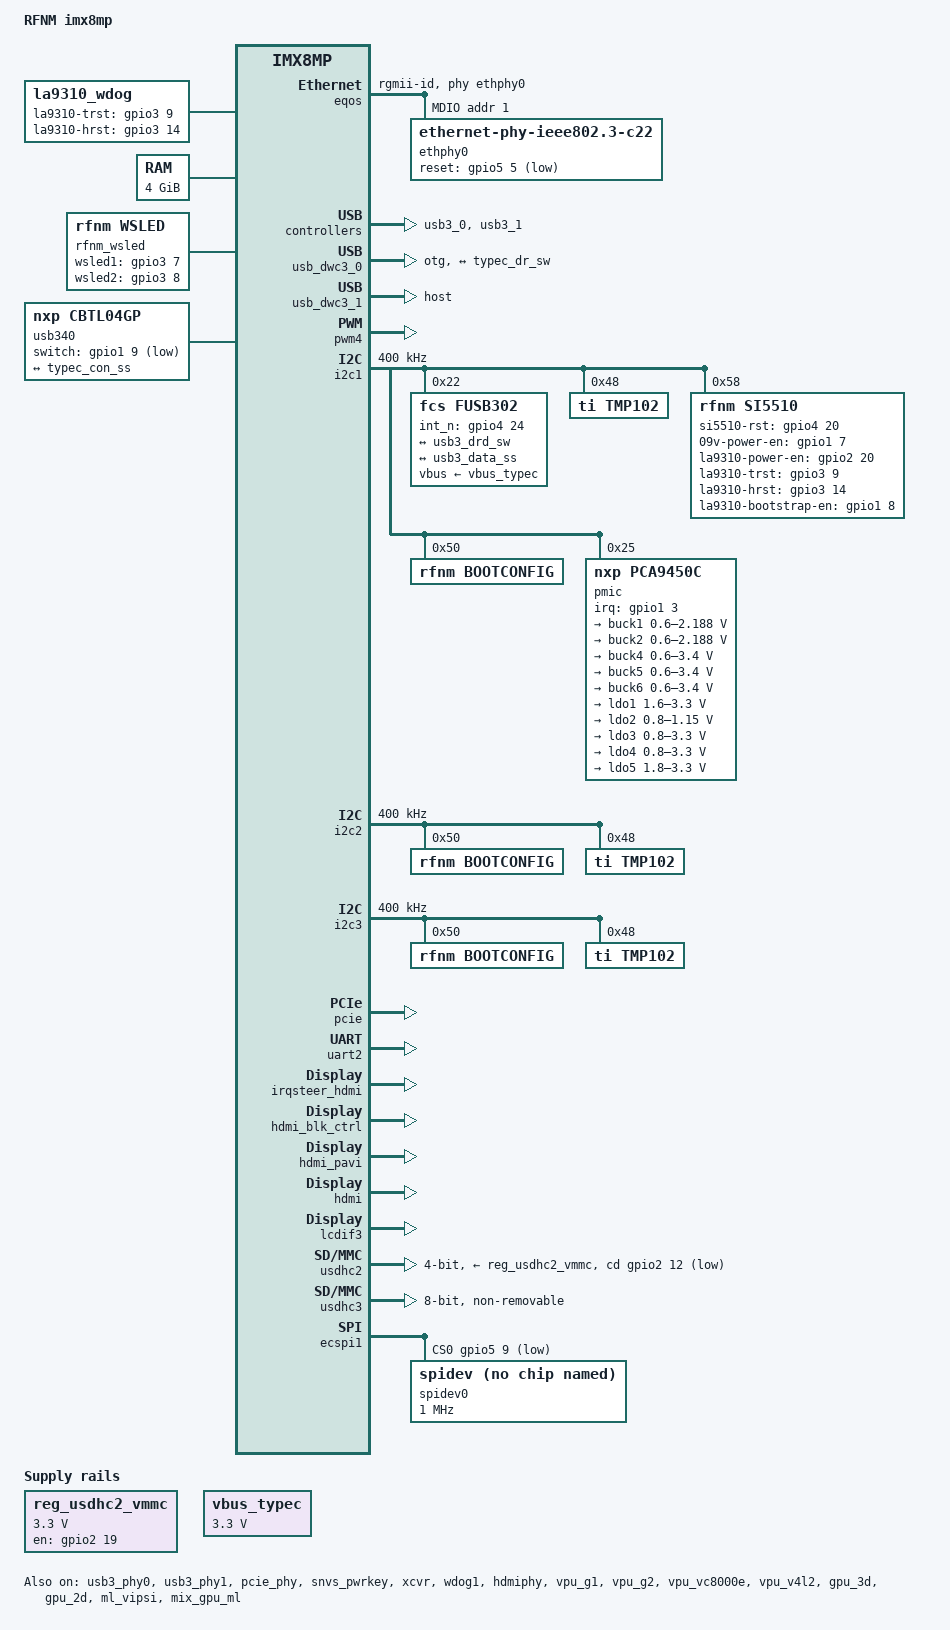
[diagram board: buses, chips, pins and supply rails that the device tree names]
// SPDX-License-Identifier: (GPL-2.0+ OR MIT)
/*
 * Copyright 2019-2024 NXP
 */

/dts-v1/;

#include <dt-bindings/usb/pd.h>
#include "imx8mp.dtsi"

/ {
	model = "RFNM imx8mp";
	compatible = "fsl,imx8mp-rfnm", "fsl,imx8mp-evk", "fsl,imx8mp";

	chosen {
		stdout-path = &uart2;
	};

    la9310_wdog: la9310_wdog@0 {
        compatible = "la9310_wdog";
        la9310-trst-gpios = <&gpio3 9 GPIO_ACTIVE_HIGH>;
		la9310-hrst-gpios = <&gpio3 14 GPIO_ACTIVE_HIGH>;
    };


	memory@40000000 {
		device_type = "memory";
		reg = <0x0 0x40000000 0 0x80000000>,
		      <0x1 0x00000000 0 0x80000000>;
	};


	reserved-memory {
            /delete-node/ dsp_reserved;
            /delete-node/ dsp_reserved_heap;
            /delete-node/ dsp_vdev0vring0;
            /delete-node/ dsp_vdev0vring1;
            /delete-node/ dsp_vdev0buffer;

			la93: la93@92400000 {
				reg = <0 0x92400000 0 0x4000000>;
				compatible = "shared-dma-pool";
			};
			iqflood: iq@96400000 {
				reg = <0 0x96400000 0 0xD000000>;
				//compatible = "shared-dma-pool";
				no-map;
				//compatible = "removed-dma-pool";
			};
			bootconfig: bootconfig@A3400000 {
				reg = <0 0xA3400000 0 0x400000>;
				// uboot was modified to clear this memory (with 0xff)
				no-map;
			};
    };

	reg_usdhc2_vmmc: regulator-usdhc2 {
		compatible = "regulator-fixed";
		pinctrl-names = "default";
		pinctrl-0 = <&pinctrl_reg_usdhc2_vmmc>;
		regulator-name = "VSD_3V3";
		regulator-min-microvolt = <3300000>;
		regulator-max-microvolt = <3300000>;
		gpio = <&gpio2 19 GPIO_ACTIVE_HIGH>;
		enable-active-high;
	};

	rfnm_wsled {
		compatible = "rfnm,wsled";
		wsled1-gpios = <&gpio3 7 GPIO_ACTIVE_HIGH>;
		wsled2-gpios = <&gpio3 8 GPIO_ACTIVE_HIGH>;
		pinctrl-names = "default";
		pinctrl-0 = <&pinctrl_wsled>;
		status = "okay";
	};


	sound-hdmi {
		compatible = "fsl,imx-audio-hdmi";
		model = "audio-hdmi";
		audio-cpu = <&aud2htx>;
		hdmi-out;
		constraint-rate = <44100>,
				<88200>,
				<176400>,
				<32000>,
				<48000>,
				<96000>,
				<192000>;
		status = "okay";
	};

	/*
	rfnm_gpios {
		compatible = "rfnm,gpio";
		pinctrl-names = "default";
		pinctrl-0 = <&pinctrl_rfnm_gpios>;

		Si5510_PWR_EN {
			label = "Si5510_PWR_EN";
			gpios = <&gpio3 16 GPIO_ACTIVE_HIGH>;
		};
	};
	*/


	usb340: fusb340-sw {
		// cannot remove compatibile from here, this only works thanks to NXP patches
		compatible = "nxp,cbtl04gp";
		pinctrl-names = "default";
		pinctrl-0 = <&pinctrl_typec_mux>;
		switch-gpios = <&gpio1 9 GPIO_ACTIVE_LOW>;
		orientation-switch;

		port {
			usb3_data_ss: endpoint {
				remote-endpoint = <&typec_con_ss>;
			};
		};
	};




	vbus_typec: vbus-typec-regulator {
		compatible = "regulator-fixed";
		regulator-name = "vbus_typec";
		regulator-min-microvolt = <3300000>;
		regulator-max-microvolt = <3300000>;
		regulator-always-on;
		status = "okay";
	};
};

&gpio2 {
	gpio-line-names =
		"gpio2_0",
		"etc";
};



&A53_0 {
	cpu-supply = <&buck2>;
};

&A53_1 {
	cpu-supply = <&buck2>;
};

&A53_2 {
	cpu-supply = <&buck2>;
};

&A53_3 {
	cpu-supply = <&buck2>;
};
&eqos {
	pinctrl-names = "default";
	pinctrl-0 = <&pinctrl_eqos>;
	phy-mode = "rgmii-id";
	phy-handle = <&ethphy0>;
	snps,force_thresh_dma_mode;
	//snps,mtl-tx-config = <&mtl_tx_setup>;
	//snps,mtl-rx-config = <&mtl_rx_setup>;
	fsl,magic-packet;
	status = "okay";

	mdio {
		compatible = "snps,dwmac-mdio";
		#address-cells = <1>;
		#size-cells = <0>;

		ethphy0: ethernet-phy@1 {
			compatible = "ethernet-phy-ieee802.3-c22";
			reg = <1>;
			eee-broken-1000t;
			realtek,clkout-disable;
			reset-gpios = <&gpio5 5 GPIO_ACTIVE_LOW>;
			reset-assert-us = <15000>;
			reset-deassert-us = <100000>;
		};
	};

	/*mtl_tx_setup: tx-queues-config {
		snps,tx-queues-to-use = <5>;
		snps,tx-sched-sp;
		queue0 {
			snps,dcb-algorithm;
			snps,priority = <0x1>;
		};
		queue1 {
			snps,dcb-algorithm;
			snps,priority = <0x2>;
		};
		queue2 {
			snps,dcb-algorithm;
			snps,priority = <0x4>;
		};
		queue3 {
			snps,dcb-algorithm;
			snps,priority = <0x8>;
		};
		queue4 {
			snps,dcb-algorithm;
			snps,priority = <0xf0>;
		};
	};
	mtl_rx_setup: rx-queues-config {
		snps,rx-queues-to-use = <5>;
		snps,rx-sched-sp;
		queue0 {
			snps,dcb-algorithm;
			snps,priority = <0x1>;
			snps,map-to-dma-channel = <0>;
		};
		queue1 {
			snps,dcb-algorithm;
			snps,priority = <0x2>;
			snps,map-to-dma-channel = <1>;
		};
		queue2 {
			snps,dcb-algorithm;
			snps,priority = <0x4>;
			snps,map-to-dma-channel = <2>;
		};
		queue3 {
			snps,dcb-algorithm;
			snps,priority = <0x8>;
			snps,map-to-dma-channel = <3>;
		};
		queue4 {
			snps,dcb-algorithm;
			snps,priority = <0xf0>;
			snps,map-to-dma-channel = <4>;
		};
	};*/
};

&usb3_phy0 {
	vbus-power-supply = <&fusb302>;
	fsl,phy-tx-vref-tune = <0xe>;
	fsl,phy-tx-preemp-amp-tune = <3>;
	fsl,phy-tx-vboost-level = <5>;
	fsl,phy-comp-dis-tune = <7>;
	fsl,pcs-tx-deemph-3p5db = <0x21>;
	fsl,phy-pcs-tx-swing-full = <0x7f>;
	status = "okay";
};

&usb3_0 {
	status = "okay";
};

&usb_dwc3_0 {
	dr_mode = "otg";
	hnp-disable;
	srp-disable;
	adp-disable;
	snps,dis-u1-entry-quirk;
	snps,dis-u2-entry-quirk;
	status = "okay";

	port {
		usb3_drd_sw: endpoint {
			remote-endpoint = <&typec_dr_sw>;
		};
	};
};

&usb3_phy1 {
	fsl,phy-tx-preemp-amp-tune = <3>;
	fsl,phy-tx-vref-tune = <0xb>;
	status = "okay";
};

&usb3_1 {
	status = "okay";
};

&usb_dwc3_1 {
	pinctrl-names = "default";
	/*pinctrl-0 = <&pinctrl_usb1_vbus>;*/
	dr_mode = "host";
	status = "okay";
};

&pwm4 {
	pinctrl-names = "default";
	pinctrl-0 = <&pinctrl_pwm4>;
	status = "okay";
};


&i2c1 {
	clock-frequency = <400000>;
	pinctrl-names = "default";
	pinctrl-0 = <&pinctrl_i2c1>;
	status = "okay";


	fusb302: tcpc@22 {
		compatible = "fcs,fusb302";
		pinctrl-names = "default";
		pinctrl-0 = <&pinctrl_typec>;
		reg = <0x22>;
		//interrupt-parent = <&gpio4>;
        //interrupts = <24 IRQ_TYPE_LEVEL_LOW>;
		fcs,int_n = <&gpio4 24 GPIO_ACTIVE_HIGH>;
        vbus-supply = <&vbus_typec>;

		port {
			typec_dr_sw: endpoint {
				remote-endpoint = <&usb3_drd_sw>;
			};
		};

		usb_con: connector {
			compatible = "usb-c-connector";
			label = "USB-C";

			power-role = "sink";
			try-power-role = "sink";
			data-role = "dual";
			//source-pdos = <PDO_FIXED(5000, 2500, PDO_FIXED_USB_COMM)>;
			sink-pdos = <PDO_FIXED(5000, 3000, PDO_FIXED_USB_COMM)
				     	 PDO_FIXED(9000, 2000, PDO_FIXED_USB_COMM)
						 PDO_FIXED(12000, 2000, PDO_FIXED_USB_COMM)
						 PDO_FIXED(15000, 1500, PDO_FIXED_USB_COMM)
						 PDO_VAR(5000, 15000, 3000)>;
			op-sink-microwatt = <1000000>;
			//self-powered;

			ports {
				#address-cells = <1>;
				#size-cells = <0>;

				port@1 {
					reg = <1>;
					typec_con_ss: endpoint {
						remote-endpoint = <&usb3_data_ss>;
					};
				};
			};
		};
	};

	tmp102@48{
		compatible = "ti,tmp102";
		reg = <0x48>;
	};

	si5510@58{
		compatible = "rfnm,si5510";
		reg = <0x58>;
		status = "okay";
		pinctrl-names = "default";
		pinctrl-0 = <&pinctrl_si5510>;
		si5510-rst-gpios = <&gpio4 20 GPIO_ACTIVE_HIGH>;

		09v-power-en-gpios = <&gpio1 7 GPIO_ACTIVE_HIGH>;
		la9310-power-en-gpios = <&gpio2 20 GPIO_ACTIVE_HIGH>;

		la9310-trst-gpios = <&gpio3 9 GPIO_ACTIVE_HIGH>;
		la9310-hrst-gpios = <&gpio3 14 GPIO_ACTIVE_HIGH>;
		la9310-bootstrap-en-gpios = <&gpio1 8 GPIO_ACTIVE_HIGH>;
	};

	bootconfig@50{
		compatible = "rfnm,bootconfig";
		reg = <0x50>;
		status = "okay";
	};









	pmic@25 {
		compatible = "nxp,pca9450c";
		reg = <0x25>;
		pinctrl-names = "default";
		pinctrl-0 = <&pinctrl_pmic>;
		interrupt-parent = <&gpio1>;
		interrupts = <3 IRQ_TYPE_LEVEL_LOW>;

		regulators {
			buck1: BUCK1 {
				regulator-name = "BUCK1";
				regulator-min-microvolt = <600000>;
				regulator-max-microvolt = <2187500>;
				regulator-boot-on;
				regulator-always-on;
				regulator-ramp-delay = <3125>;
			};

			buck2: BUCK2 {
				regulator-name = "BUCK2";
				regulator-min-microvolt = <600000>;
				regulator-max-microvolt = <2187500>;
				regulator-boot-on;
				regulator-always-on;
				regulator-ramp-delay = <3125>;
				nxp,dvs-run-voltage = <950000>;
				nxp,dvs-standby-voltage = <850000>;
			};

			buck4: BUCK4{
				regulator-name = "BUCK4";
				regulator-min-microvolt = <600000>;
				regulator-max-microvolt = <3400000>;
				regulator-boot-on;
				regulator-always-on;
			};

			buck5: BUCK5{
				regulator-name = "BUCK5";
				regulator-min-microvolt = <600000>;
				regulator-max-microvolt = <3400000>;
				regulator-boot-on;
				regulator-always-on;
			};

			buck6: BUCK6 {
				regulator-name = "BUCK6";
				regulator-min-microvolt = <600000>;
				regulator-max-microvolt = <3400000>;
				regulator-boot-on;
				regulator-always-on;
			};

			ldo1: LDO1 {
				regulator-name = "LDO1";
				regulator-min-microvolt = <1600000>;
				regulator-max-microvolt = <3300000>;
				regulator-boot-on;
				regulator-always-on;
			};

			ldo2: LDO2 {
				regulator-name = "LDO2";
				regulator-min-microvolt = <800000>;
				regulator-max-microvolt = <1150000>;
				regulator-boot-on;
				regulator-always-on;
			};

			ldo3: LDO3 {
				regulator-name = "LDO3";
				regulator-min-microvolt = <800000>;
				regulator-max-microvolt = <3300000>;
				regulator-boot-on;
				regulator-always-on;
			};

			ldo4: LDO4 {
				regulator-name = "LDO4";
				regulator-min-microvolt = <800000>;
				regulator-max-microvolt = <3300000>;
				regulator-boot-on;
				regulator-always-on;
			};

			ldo5: LDO5 {
				regulator-name = "LDO5";
				regulator-min-microvolt = <1800000>;
				regulator-max-microvolt = <3300000>;
				regulator-boot-on;
				regulator-always-on;
			};
		};
	};
};

&i2c2 {
	clock-frequency = <400000>;
	pinctrl-names = "default";
	pinctrl-0 = <&pinctrl_i2c2>;
	status = "okay";

	bootconfig@50{
		compatible = "rfnm,bootconfig";
		reg = <0x50>;
		status = "okay";
	};

	tmp102@48{
		compatible = "ti,tmp102";
		reg = <0x48>;
	};
};

&i2c3 {
	clock-frequency = <400000>;
	pinctrl-names = "default";
	pinctrl-0 = <&pinctrl_i2c3>;
	status = "okay";

	bootconfig@50{
		compatible = "rfnm,bootconfig";
		reg = <0x50>;
		status = "okay";
	};

	tmp102@48{
		compatible = "ti,tmp102";
		reg = <0x48>;
	};
};




&pcie{
	//pinctrl-names = "default";
	//pinctrl-0 = <&pinctrl_pcie>;
	//disable-gpio = <&gpio2 6 GPIO_ACTIVE_LOW>;
	//reset-gpio = <&gpio2 7 GPIO_ACTIVE_LOW>;
	ext_osc = <1>;
	clocks = <&clk IMX8MP_CLK_HSIO_ROOT>,
		 <&clk IMX8MP_CLK_PCIE_AUX>,
		 <&clk IMX8MP_CLK_HSIO_AXI>,
		 <&clk IMX8MP_CLK_PCIE_ROOT>;
	clock-names = "pcie", "pcie_aux", "pcie_phy", "pcie_bus";
	assigned-clocks = <&clk IMX8MP_CLK_HSIO_AXI>,
			  <&clk IMX8MP_CLK_PCIE_AUX>;
	assigned-clock-rates = <500000000>, <10000000>;
	assigned-clock-parents = <&clk IMX8MP_SYS_PLL2_500M>,
				 <&clk IMX8MP_SYS_PLL2_50M>;
	l1ss-disabled;
	status = "okay";
/*
	wifi_wake_host {
		compatible = "nxp,wifi-wake-host";
		interrupt-parent = <&gpio5>;
		interrupts = <21 IRQ_TYPE_LEVEL_LOW>;
		interrupt-names = "host-wake";
	};
*/
};

&pcie_ep{
	//pinctrl-names = "default";
	//pinctrl-0 = <&pinctrl_pcie>;
	ext_osc = <1>;
	clocks = <&clk IMX8MP_CLK_HSIO_ROOT>,
		 <&clk IMX8MP_CLK_PCIE_AUX>,
		 <&clk IMX8MP_CLK_HSIO_AXI>,
		 <&clk IMX8MP_CLK_PCIE_ROOT>;
	clock-names = "pcie", "pcie_aux", "pcie_phy", "pcie_bus";
	assigned-clocks = <&clk IMX8MP_CLK_HSIO_AXI>,
			  <&clk IMX8MP_CLK_PCIE_AUX>;
	assigned-clock-rates = <500000000>, <10000000>;
	assigned-clock-parents = <&clk IMX8MP_SYS_PLL2_500M>,
				 <&clk IMX8MP_SYS_PLL2_50M>;
	status = "disabled";
};

&pcie_phy{
	ext_osc = <1>;
	status = "okay";
};


&snvs_pwrkey {
	status = "okay";
};

&xcvr {
	#sound-dai-cells = <0>;
	status = "okay";
};

&sdma2 {
	status = "okay";
};


&uart2 {
	/* console */
	pinctrl-names = "default";
	pinctrl-0 = <&pinctrl_uart2>;
	status = "okay";
};

&wdog1 {
	pinctrl-names = "default";
	pinctrl-0 = <&pinctrl_wdog>;
	fsl,ext-reset-output;
	status = "okay";
};

&irqsteer_hdmi {
	status = "okay";
};

&hdmi_blk_ctrl {
	status = "okay";
};

&hdmi_pavi {
	status = "okay";
};

&hdmi {
	status = "okay";
	pinctrl-names = "default";
	pinctrl-0 = <&pinctrl_hdmi>;
};

&hdmiphy {
	status = "okay";
};

&lcdif3 {
	status = "okay";

	thres-low  = <1 2>;             /* (FIFO * 1 / 2) */
	thres-high = <3 4>;             /* (FIFO * 3 / 4) */
};

&usdhc2 {
	assigned-clocks = <&clk IMX8MP_CLK_USDHC2>;
	assigned-clock-rates = <400000000>;
	pinctrl-names = "default", "state_100mhz", "state_200mhz";
	pinctrl-0 = <&pinctrl_usdhc2>, <&pinctrl_usdhc2_gpio>;
	pinctrl-1 = <&pinctrl_usdhc2_100mhz>, <&pinctrl_usdhc2_gpio>;
	pinctrl-2 = <&pinctrl_usdhc2_200mhz>, <&pinctrl_usdhc2_gpio>;
	cd-gpios = <&gpio2 12 GPIO_ACTIVE_LOW>;
	vmmc-supply = <&reg_usdhc2_vmmc>;
	bus-width = <4>;
	status = "okay";
};

&usdhc3 {
	assigned-clocks = <&clk IMX8MP_CLK_USDHC3>;
	assigned-clock-rates = <400000000>;
	pinctrl-names = "default", "state_100mhz", "state_200mhz";
	pinctrl-0 = <&pinctrl_usdhc3>;
	pinctrl-1 = <&pinctrl_usdhc3_100mhz>;
	pinctrl-2 = <&pinctrl_usdhc3_200mhz>;
	bus-width = <8>;
	non-removable;
	status = "okay";
};

&ecspi1 {
	#address-cells = <1>;
	#size-cells = <0>;
	fsl,spi-num-chipselects = <1>;
	pinctrl-names = "default";
	pinctrl-0 = <&pinctrl_ecspi1>;
	// spi bug in the 5.10 -> 5.15 upgrade that
	// resets the CS line in multi-byte transfers for no reasons
	// fix by telling the driver to use a GPIO as SS

	//num-cs = <2>;
	//cs-gpios = <&gpio5 9 GPIO_ACTIVE_LOW>, <&gpio3 22 GPIO_ACTIVE_LOW>;
	cs-gpios = <&gpio5 9 GPIO_ACTIVE_LOW>;
	status = "okay";
	fsl,spi-csd-ctl = <1>;

	spidev0: spi@0 {
		reg = <0>;
		compatible = "rohm,dh2228fv";
		spi-max-frequency = <1000000>;
	};

	/*spidev1: spi@1 {
		reg = <1>;
		compatible = "rohm,dh2228fv";
		spi-max-frequency = <1000000>;
	};*/
};
/*
&ecspi2 {
	#address-cells = <1>;
	#size-cells = <0>;
	fsl,spi-num-chipselects = <1>;
	pinctrl-names = "default";
	pinctrl-0 = <&pinctrl_ecspi2>;
	cs-gpios = <&gpio5 13 GPIO_ACTIVE_LOW>;
	status = "okay";

	spidev3: spi@0 {
		reg = <0>;
		compatible = "spidev";
		spi-max-frequency = <500000>;
	};
};
*/

&iomuxc {
    pinctrl-names = "default_iomuxc";
    pinctrl-0 = <&pinctrl_eqos>;


    imx8mp-custom-board {
    /*
    	pinctrl_rfnm_gpios: rfnmgpiopctrl {
    		fsl,pins = <
				MX8MP_IOMUXC_GPIO1_IO07__GPIO1_IO07        0x00000146
                MX8MP_IOMUXC_GPIO1_IO10__GPIO1_IO10        0x00000146
                MX8MP_IOMUXC_GPIO1_IO12__GPIO1_IO12        0x00000146
                MX8MP_IOMUXC_NAND_READY_B__GPIO3_IO16      0x00000146
                MX8MP_IOMUXC_SD2_WP__GPIO2_IO20            0x00000146
			>;
    	};
    */

	pinctrl_wsled: wsledgrp {
		fsl,pins = <
			MX8MP_IOMUXC_NAND_DATA01__GPIO3_IO07       0x00000016 // needed to enable clocking to this gpio peripheral
			MX8MP_IOMUXC_NAND_DATA02__GPIO3_IO08       0x00000016 // needed to enable clocking to this gpio peripheral
		>;
	};

    pinctrl_ecspi1: ecspi1grp {
		fsl,pins = <
			MX8MP_IOMUXC_ECSPI1_MISO__ECSPI1_MISO      0x82
            MX8MP_IOMUXC_ECSPI1_MOSI__ECSPI1_MOSI      0x82
            MX8MP_IOMUXC_ECSPI1_SCLK__ECSPI1_SCLK      0x82
            //MX8MP_IOMUXC_ECSPI1_SS0__ECSPI1_SS0        0x86
			MX8MP_IOMUXC_ECSPI1_SS0__GPIO5_IO09		0x00000106 // SS granita
			MX8MP_IOMUXC_SAI5_RXD1__GPIO3_IO22		0x00000106 // SS RFFC

			MX8MP_IOMUXC_SAI5_RXD0__GPIO3_IO21		0x00000106 // RFFC NRST pin

			MX8MP_IOMUXC_SD1_DATA4__GPIO2_IO06         0x00000146 // PGOOD_5V with weak pullup

			MX8MP_IOMUXC_SAI1_RXD4__GPIO4_IO06         0x00000106 // needed for data pin on RBA
			MX8MP_IOMUXC_SAI1_RXD5__GPIO4_IO07         0x00000106 // needed for data pin on RBA
			MX8MP_IOMUXC_SAI1_RXD6__GPIO4_IO08         0x00000106 // needed for data pin on RBA
			MX8MP_IOMUXC_SAI1_RXD7__GPIO4_IO09         0x00000106 // needed for data pin on RBA

			MX8MP_IOMUXC_SAI1_RXFS__GPIO4_IO00         0x00000006
			MX8MP_IOMUXC_SAI1_RXC__GPIO4_IO01          0x00000106
			MX8MP_IOMUXC_SAI1_RXD0__GPIO4_IO02         0x00000106
			MX8MP_IOMUXC_SAI1_RXD2__GPIO4_IO04         0x00000106
			MX8MP_IOMUXC_SAI1_RXD3__GPIO4_IO05         0x00000106


		>;
	};

	pinctrl_ecspi2: ecspi2grp {
		fsl,pins = <
			MX8MP_IOMUXC_ECSPI2_MISO__ECSPI2_MISO      0x82
            MX8MP_IOMUXC_ECSPI2_MOSI__ECSPI2_MOSI      0x82
            MX8MP_IOMUXC_ECSPI2_SCLK__ECSPI2_SCLK      0x82
            //MX8MP_IOMUXC_ECSPI2_SS0__ECSPI2_SS0        0x86
			MX8MP_IOMUXC_ECSPI2_SS0__GPIO5_IO13			0x00000106
		>;
	};

    pinctrl_hdmi: hdmigrp {
    	fsl,pins = <
			MX8MP_IOMUXC_HDMI_DDC_SCL__HDMIMIX_HDMI_SCL	0x000001c3
			MX8MP_IOMUXC_HDMI_DDC_SDA__HDMIMIX_HDMI_SDA	0x000001c3
			MX8MP_IOMUXC_HDMI_HPD__HDMIMIX_HDMI_HPD		0x00000000
			MX8MP_IOMUXC_HDMI_CEC__HDMIMIX_HDMI_CEC		0x00000000
		>;
    };
    	pinctrl_typec: typec1grp {
			fsl,pins = <
				MX8MP_IOMUXC_SAI2_TXFS__GPIO4_IO24	0x26
			>;
		};

		pinctrl_typec_mux: typec1muxgrp {
			fsl,pins = <
				MX8MP_IOMUXC_GPIO1_IO09__GPIO1_IO09	0x16
			>;
		};

		pinctrl_pwm4: pwm4grp {
			fsl,pins = <
				//MX8MP_IOMUXC_GPIO1_IO15__PWM4_OUT          0x00000026
				MX8MP_IOMUXC_SAI3_MCLK__PWM4_OUT           0x00000016
			>;
		};

		pinctrl_si5510: si5510pctrl {
			fsl,pins = <
				MX8MP_IOMUXC_SAI1_MCLK__GPIO4_IO20	0x6
				MX8MP_IOMUXC_NAND_DATA03__GPIO3_IO09	0x6
				MX8MP_IOMUXC_NAND_DQS__GPIO3_IO14 	0x6
				MX8MP_IOMUXC_GPIO1_IO08__GPIO1_IO08 	0x6

				MX8MP_IOMUXC_GPIO1_IO07__GPIO1_IO07	0x6
				MX8MP_IOMUXC_SD2_WP__GPIO2_IO20	0x6
			>;
		};



        pinctrl_eqos: eqosgrp {

            fsl,pins = <
                MX8MP_IOMUXC_ENET_MDC__ENET_QOS_MDC				0x2
				MX8MP_IOMUXC_ENET_MDIO__ENET_QOS_MDIO				0x2
				MX8MP_IOMUXC_ENET_RD0__ENET_QOS_RGMII_RD0			0x90
				MX8MP_IOMUXC_ENET_RD1__ENET_QOS_RGMII_RD1			0x90
				MX8MP_IOMUXC_ENET_RD2__ENET_QOS_RGMII_RD2			0x90
				MX8MP_IOMUXC_ENET_RD3__ENET_QOS_RGMII_RD3			0x90
				MX8MP_IOMUXC_ENET_RXC__CCM_ENET_QOS_CLOCK_GENERATE_RX_CLK	0x90
				MX8MP_IOMUXC_ENET_RX_CTL__ENET_QOS_RGMII_RX_CTL			0x90
				MX8MP_IOMUXC_ENET_TD0__ENET_QOS_RGMII_TD0			0x16
				MX8MP_IOMUXC_ENET_TD1__ENET_QOS_RGMII_TD1			0x16
				MX8MP_IOMUXC_ENET_TD2__ENET_QOS_RGMII_TD2			0x16
				MX8MP_IOMUXC_ENET_TD3__ENET_QOS_RGMII_TD3			0x16
				MX8MP_IOMUXC_ENET_TX_CTL__ENET_QOS_RGMII_TX_CTL			0x16
				MX8MP_IOMUXC_ENET_TXC__CCM_ENET_QOS_CLOCK_GENERATE_TX_CLK	0x16
				MX8MP_IOMUXC_SPDIF_EXT_CLK__GPIO5_IO05		0x10
            >;
        };

        pinctrl_usdhc2: usdhc2grp {
			fsl,pins = <
				MX8MP_IOMUXC_SD2_CLK__USDHC2_CLK	0x190
				MX8MP_IOMUXC_SD2_CMD__USDHC2_CMD	0x1d0
				MX8MP_IOMUXC_SD2_DATA0__USDHC2_DATA0	0x1d0
				MX8MP_IOMUXC_SD2_DATA1__USDHC2_DATA1	0x1d0
				MX8MP_IOMUXC_SD2_DATA2__USDHC2_DATA2	0x1d0
				MX8MP_IOMUXC_SD2_DATA3__USDHC2_DATA3	0x1d0
				MX8MP_IOMUXC_GPIO1_IO04__USDHC2_VSELECT	0xc0
			>;
		};

		pinctrl_usdhc2_100mhz: usdhc2-100mhzgrp {
			fsl,pins = <
				MX8MP_IOMUXC_SD2_CLK__USDHC2_CLK	0x194
				MX8MP_IOMUXC_SD2_CMD__USDHC2_CMD	0x1d4
				MX8MP_IOMUXC_SD2_DATA0__USDHC2_DATA0	0x1d4
				MX8MP_IOMUXC_SD2_DATA1__USDHC2_DATA1	0x1d4
				MX8MP_IOMUXC_SD2_DATA2__USDHC2_DATA2	0x1d4
				MX8MP_IOMUXC_SD2_DATA3__USDHC2_DATA3	0x1d4
				MX8MP_IOMUXC_GPIO1_IO04__USDHC2_VSELECT 0xc0
			>;
		};

		pinctrl_usdhc2_200mhz: usdhc2-200mhzgrp {
			fsl,pins = <
				MX8MP_IOMUXC_SD2_CLK__USDHC2_CLK	0x196
				MX8MP_IOMUXC_SD2_CMD__USDHC2_CMD	0x1d6
				MX8MP_IOMUXC_SD2_DATA0__USDHC2_DATA0	0x1d6
				MX8MP_IOMUXC_SD2_DATA1__USDHC2_DATA1	0x1d6
				MX8MP_IOMUXC_SD2_DATA2__USDHC2_DATA2	0x1d6
				MX8MP_IOMUXC_SD2_DATA3__USDHC2_DATA3	0x1d6
				MX8MP_IOMUXC_GPIO1_IO04__USDHC2_VSELECT 0xc0
			>;
		};

		pinctrl_usdhc3: usdhc3grp {
			fsl,pins = <
				MX8MP_IOMUXC_NAND_WE_B__USDHC3_CLK	0x190
				MX8MP_IOMUXC_NAND_WP_B__USDHC3_CMD	0x1d0
				MX8MP_IOMUXC_NAND_DATA04__USDHC3_DATA0	0x1d0
				MX8MP_IOMUXC_NAND_DATA05__USDHC3_DATA1	0x1d0
				MX8MP_IOMUXC_NAND_DATA06__USDHC3_DATA2	0x1d0
				MX8MP_IOMUXC_NAND_DATA07__USDHC3_DATA3	0x1d0
				MX8MP_IOMUXC_NAND_RE_B__USDHC3_DATA4	0x1d0
				MX8MP_IOMUXC_NAND_CE2_B__USDHC3_DATA5	0x1d0
				MX8MP_IOMUXC_NAND_CE3_B__USDHC3_DATA6	0x1d0
				MX8MP_IOMUXC_NAND_CLE__USDHC3_DATA7	0x1d0
				MX8MP_IOMUXC_NAND_CE1_B__USDHC3_STROBE	0x190
			>;
		};

		pinctrl_usdhc3_100mhz: usdhc3-100mhzgrp {
			fsl,pins = <
				MX8MP_IOMUXC_NAND_WE_B__USDHC3_CLK	0x194
				MX8MP_IOMUXC_NAND_WP_B__USDHC3_CMD	0x1d4
				MX8MP_IOMUXC_NAND_DATA04__USDHC3_DATA0	0x1d4
				MX8MP_IOMUXC_NAND_DATA05__USDHC3_DATA1	0x1d4
				MX8MP_IOMUXC_NAND_DATA06__USDHC3_DATA2	0x1d4
				MX8MP_IOMUXC_NAND_DATA07__USDHC3_DATA3	0x1d4
				MX8MP_IOMUXC_NAND_RE_B__USDHC3_DATA4	0x1d4
				MX8MP_IOMUXC_NAND_CE2_B__USDHC3_DATA5	0x1d4
				MX8MP_IOMUXC_NAND_CE3_B__USDHC3_DATA6	0x1d4
				MX8MP_IOMUXC_NAND_CLE__USDHC3_DATA7	0x1d4
				MX8MP_IOMUXC_NAND_CE1_B__USDHC3_STROBE	0x194
			>;
		};

		pinctrl_usdhc3_200mhz: usdhc3-200mhzgrp {
			fsl,pins = <
				MX8MP_IOMUXC_NAND_WE_B__USDHC3_CLK	0x196
				MX8MP_IOMUXC_NAND_WP_B__USDHC3_CMD	0x1d6
				MX8MP_IOMUXC_NAND_DATA04__USDHC3_DATA0	0x1d6
				MX8MP_IOMUXC_NAND_DATA05__USDHC3_DATA1	0x1d6
				MX8MP_IOMUXC_NAND_DATA06__USDHC3_DATA2	0x1d6
				MX8MP_IOMUXC_NAND_DATA07__USDHC3_DATA3	0x1d6
				MX8MP_IOMUXC_NAND_RE_B__USDHC3_DATA4	0x1d6
				MX8MP_IOMUXC_NAND_CE2_B__USDHC3_DATA5	0x1d6
				MX8MP_IOMUXC_NAND_CE3_B__USDHC3_DATA6	0x1d6
				MX8MP_IOMUXC_NAND_CLE__USDHC3_DATA7	0x1d6
				MX8MP_IOMUXC_NAND_CE1_B__USDHC3_STROBE	0x196
			>;
		};

		pinctrl_usdhc2_gpio: usdhc2gpiogrp {
			fsl,pins = <
				MX8MP_IOMUXC_SD2_CD_B__GPIO2_IO12	0x1c4
			>;
		};

		pinctrl_reg_usdhc2_vmmc: regusdhc2vmmcgrp {
			fsl,pins = <
				MX8MP_IOMUXC_SD2_RESET_B__GPIO2_IO19	0x40
			>;
		};



        pinctrl_uart2: uart2grp {

            fsl,pins = <
                MX8MP_IOMUXC_SD1_DATA2__UART2_DCE_TX       0x00000146
                MX8MP_IOMUXC_SD1_DATA3__UART2_DCE_RX       0x00000146
            >;
        };
        pinctrl_i2c1: i2c1grp {

            fsl,pins = <
                MX8MP_IOMUXC_I2C1_SCL__I2C1_SCL            0x400001c2
                MX8MP_IOMUXC_I2C1_SDA__I2C1_SDA            0x400001c2
            >;
        };

		pinctrl_i2c2: i2c2grp {

            fsl,pins = <
                MX8MP_IOMUXC_SD1_DATA6__I2C2_SCL           0x400001c2
                MX8MP_IOMUXC_SD1_DATA7__I2C2_SDA           0x400001c2
            >;
        };

		pinctrl_i2c3: i2c3grp {

            fsl,pins = <
                MX8MP_IOMUXC_SD1_RESET_B__I2C3_SCL         0x400001c2
                MX8MP_IOMUXC_SD1_STROBE__I2C3_SDA          0x400001c2
            >;
        };

        pinctrl_wdog: wdoggrp {

            fsl,pins = <
                MX8MP_IOMUXC_GPIO1_IO02__WDOG1_WDOG_B      0x00000166
            >;
        };
        pinctrl_pmic: pmicgrp {

            fsl,pins = <
                MX8MP_IOMUXC_GPIO1_IO03__GPIO1_IO03        0x000001C0
            >;
        };
    };
};

&vpu_g1 {
	status = "okay";
};

&vpu_g2 {
	status = "okay";
};

&vpu_vc8000e {
	status = "okay";
};

&vpu_v4l2 {
	status = "okay";
};

&gpu_3d {
	status = "okay";
};

&gpu_2d {
	status = "okay";
};

&ml_vipsi {
	status = "okay";
};

&mix_gpu_ml {
	status = "okay";
};
